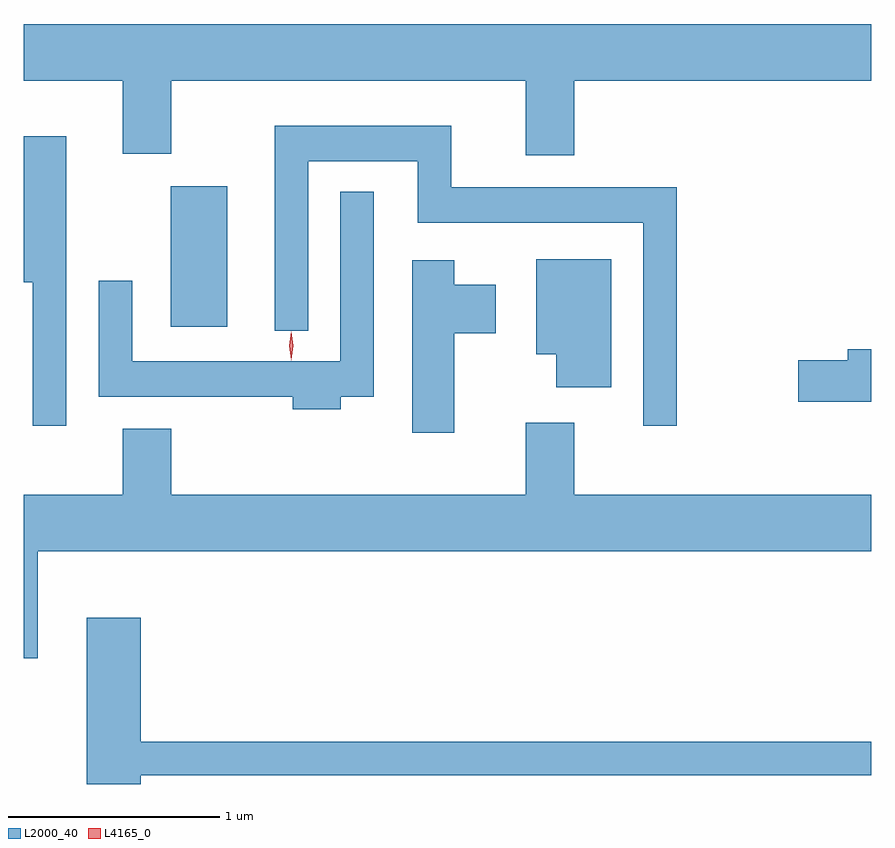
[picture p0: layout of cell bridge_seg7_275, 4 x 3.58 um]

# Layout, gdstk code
import gdstk
lib = gdstk.Library(unit=1e-6, precision=1e-09)
def R(c, l, rs):  # rectangles x0, y0, x1, y1
    for r in rs: c.add(gdstk.rectangle(r[:2], r[2:], *l))
def P(c, l, *ps):  # polygons
    for p in ps: c.add(gdstk.Polygon(p, *l))
L2000_40 = (2000, 40)
L4165_0 = (4165, 0)

bridge_seg7_275 = lib.new_cell('bridge_seg7_275')
R(bridge_seg7_275, L2000_40, [(1336.366,1788.636,1336.634,1789.299)])
P(bridge_seg7_275, L2000_40, [(1338.269,1789.796),(1339.672,1789.796),(1339.672,1790.064),(1335.672,1790.064),(1335.672,1789.796),(1336.141,1789.796),(1336.141,1789.451),(1336.369,1789.451),(1336.369,1789.796),(1338.041,1789.796),(1338.041,1789.446),(1338.269,1789.446)],
  [(1338.754,1789.294),(1337.689,1789.294),(1337.689,1789.584),(1336.856,1789.584),(1336.856,1788.618),(1337.014,1788.618),(1337.014,1789.416),(1337.531,1789.416),(1337.531,1789.126),(1338.596,1789.126),(1338.596,1788.168),(1338.754,1788.168)],
  [(1335.874,1789.534),(1335.672,1789.534),(1335.672,1788.846),(1335.716,1788.846),(1335.716,1788.168),(1335.874,1788.168)],
  [(1337.169,1788.306),(1337.324,1788.306),(1337.324,1789.273),(1337.166,1789.273),(1337.166,1788.474),(1336.184,1788.474),(1336.184,1788.853),(1336.026,1788.853),(1336.026,1788.306),(1336.941,1788.306),(1336.941,1788.246),(1337.169,1788.246)],
  [(1338.444,1788.954),(1338.091,1788.954),(1338.091,1788.506),(1338.186,1788.506),(1338.186,1788.351),(1338.444,1788.351)],
  [(1337.704,1788.606),(1337.899,1788.606),(1337.899,1788.834),(1337.704,1788.834),(1337.704,1788.949),(1337.506,1788.949),(1337.506,1788.136),(1337.704,1788.136)],
  [(1339.672,1788.529),(1339.561,1788.529),(1339.561,1788.479),(1339.326,1788.479),(1339.326,1788.281),(1339.672,1788.281)],
  [(1335.739,1787.576),(1339.672,1787.576),(1339.672,1787.844),(1338.269,1787.844),(1338.269,1788.184),(1338.041,1788.184),(1338.041,1787.844),(1336.369,1787.844),(1336.369,1788.154),(1336.141,1788.154),(1336.141,1787.844),(1335.672,1787.844),(1335.672,1787.071),(1335.739,1787.071)],
  [(1336.224,1786.521),(1339.672,1786.521),(1339.672,1786.679),(1336.224,1786.679),(1336.224,1787.264),(1335.971,1787.264),(1335.971,1786.479),(1336.224,1786.479)])
P(bridge_seg7_275, L4165_0, [(1336.935,1788.479),(1336.934,1788.48),(1336.925,1788.546),(1336.934,1788.612),(1336.935,1788.613),(1336.935,1788.612),(1336.945,1788.546),(1336.935,1788.48)])

lib.write_gds('bridge_seg7_275.gds')
